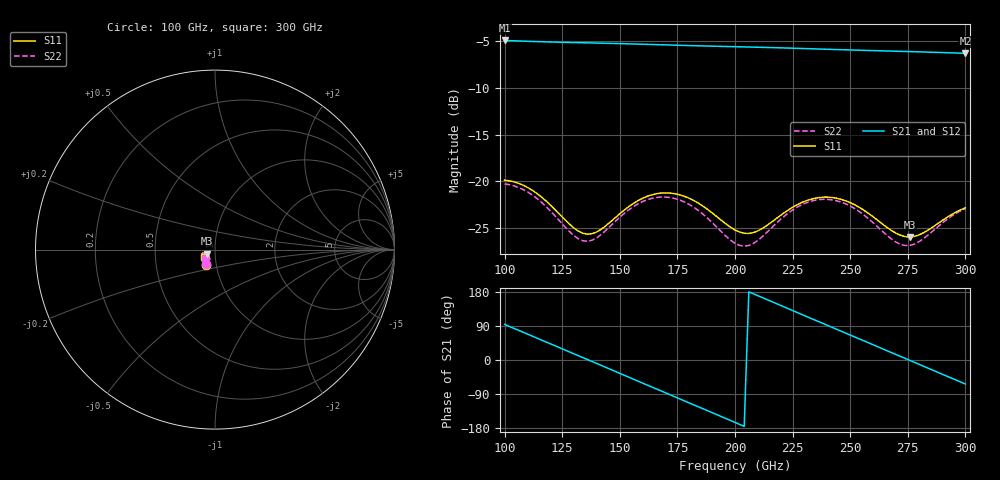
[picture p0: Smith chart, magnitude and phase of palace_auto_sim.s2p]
#  GHZ S DB R 50
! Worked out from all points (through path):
!   101 points, 100 GHz to 300 GHz, reference 50 ohm
!   highest |S21| = -4.95 dB at 100 GHz (marker M1); lowest = -6.3 dB at 300 GHz (marker M2)
!   group delay of S21, straight-line fit = 7.19 ps
!   lowest |S11| = -25.9 dB at 276 GHz (marker M3), VSWR 1.11, Z = 45.6 - j2.07 ohm
!   |S11| at or under -10 dB: start of sweep to end of sweep
!   |S22| runs from -26.9 to -20.3 dB; largest |S21 - S12| = 6.5e-14
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100  -19.87 -120.8  -4.95 94.0  -4.95 94.0  -20.27 -123.0
108  -20.40 -132.7  -5.02 73.3  -5.02 73.3  -20.86 -134.8
116  -21.66 -142.1  -5.09 52.7  -5.09 52.7  -22.23 -144.1
126  -24.04 -145.2  -5.15 26.9  -5.15 26.9  -24.80 -146.4
134  -25.54 -136.4  -5.20 6.3  -5.20 6.3  -26.33 -135.7
142  -25.09 -124.1  -5.24 -14.4  -5.24 -14.4  -25.64 -122.3
150  -23.45 -120.6  -5.29 -35.2  -5.29 -35.2  -23.82 -119.4
160  -21.79 -127.3  -5.36 -61.1  -5.36 -61.1  -22.14 -127.2
168  -21.24 -136.5  -5.41 -81.9  -5.41 -81.9  -21.66 -137.1
182  -22.02 -152.2  -5.51 -118.1  -5.51 -118.1  -22.74 -153.6
192  -23.74 -157.1  -5.57 -143.9  -5.57 -143.9  -24.86 -157.8
200  -25.18 -152.6  -5.62 -164.6  -5.62 -164.6  -26.60 -150.2
206  -25.55 -144.7  -5.65 179.8  -5.65 179.8  -26.83 -139.0
216  -24.32 -135.1  -5.72 153.9  -5.72 153.9  -24.92 -127.9
226  -22.62 -137.4  -5.79 127.9  -5.79 127.9  -22.88 -131.9
234  -21.83 -144.3  -5.85 107.2  -5.85 107.2  -22.04 -140.2
242  -21.71 -152.8  -5.91 86.5  -5.91 86.5  -21.96 -149.7
250  -22.26 -160.6  -5.97 65.9  -5.97 65.9  -22.62 -158.3
268  -25.25 -163.1  -6.09 19.4  -6.09 19.4  -26.16 -159.7
276  -25.93 -153.4  -6.14 -1.3  -6.14 -1.3  -26.82 -146.9
288  -24.50 -142.7  -6.23 -32.4  -6.23 -32.4  -24.84 -135.0
300  -22.82 -146.8  -6.33 -63.5  -6.33 -63.5  -22.91 -140.6
